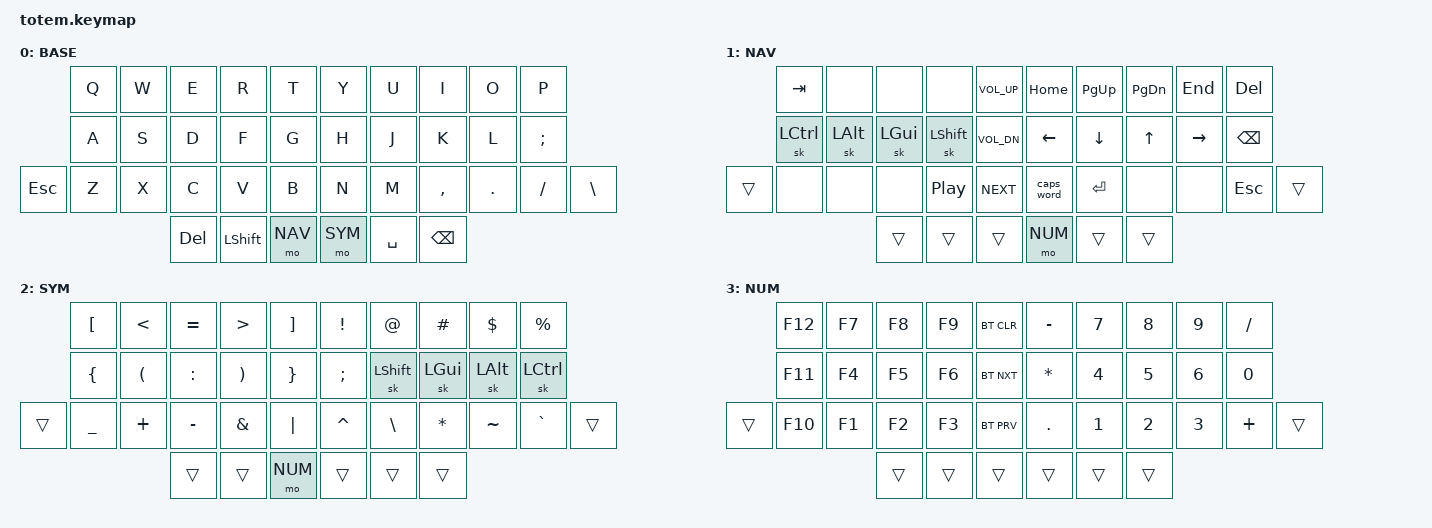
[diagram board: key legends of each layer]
//
//                                                        ▀▀▀▀▀     ▀▀▀▀▀          ▀▀█▀▀
//                                                        ▄▀▀▀▄  ▄  ▄▀▀▀▄  ▄  ▄▀▀▀▄  █  ▄▀▀▀▄
//                                                        █   █  █  █   █  █  █   █  █  █   █
//                                                         ▀▀▀   █   ▀▀▀   █   ▀▀▀   ▀   ▀▀▀
//                                                               █      ▄▄▄█▄▄▄    █   █  
//                                                               ▀      █  █  █     █▄█
//                                                             ▀▀▀▀▀    █  █  █      ▀
//                                                                      ▀  ▀  ▀
//
// ▄▄▄▄▄▄▄▄▄▄▄▄▄▄▄▄▄▄▄▄▄▄▄▄▄▄▄▄▄▄▄▄▄▄▄▄▄▄▄▄▄▄▄▄▄▄▄▄▄▄▄▄▄▄▄▄▄▄▄▄▄▄▄▄▄▄▄▄▄▄▄▄▄▄▄▄▄▄▄▄▄▄▄▄▄▄▄▄▄▄▄▄▄▄▄▄▄▄▄▄▄▄▄▄▄▄▄▄▄▄▄▄▄▄▄▄▄▄▄▄▄▄▄▄▄▄▄▄▄▄▄▄▄▄▄▄▄▄▄▄▄▄▄▄▄▄▄▄▄
       

#include <behaviors.dtsi>
#include <dt-bindings/zmk/keys.h>
#include <dt-bindings/zmk/bt.h>
#include <dt-bindings/zmk/outputs.h>

#define BASE 0
#define NAV  1
#define SYM  2
#define NUM  3

&sk {
  release-after-ms = <5000>;
  ignore-modifiers;
};

/ {
        keymap {
                compatible = "zmk,keymap";
// ▄▄▄▄▄▄▄▄▄▄▄▄▄▄▄▄▄▄▄▄▄▄▄▄▄▄▄▄▄▄▄▄▄▄▄▄▄▄▄▄▄▄▄▄▄▄▄▄▄▄▄▄▄▄▄▄▄▄▄▄▄▄▄▄▄▄▄▄▄▄▄▄▄▄▄▄▄▄▄▄▄▄▄▄▄▄▄▄▄▄▄▄▄▄▄▄▄▄▄▄▄▄▄▄▄▄▄▄▄▄▄▄▄▄▄▄▄▄▄▄▄▄▄▄▄▄▄▄▄▄▄▄▄▄▄▄▄▄▄▄▄▄▄▄▄▄▄▄▄

                base_layer {
// ┏━━━━━━━━━━━━━━━━━━━━━━━━━━━━━━━━━━━━━━━┓
label= "BASE"                              ;
// ┗━━━━━━━━━━━━━━━━━━━━━━━━━━━━━━━━━━━━━━━┛
//             ┏━━━━━━━━━━━┳━━━━━━━━━━━┳━━━━━━━━━━━┳━━━━━━━━━━━┳━━━━━━━━━━━┓   ┏━━━━━━━━━━━┳━━━━━━━━━━━┳━━━━━━━━━━━┳━━━━━━━━━━━┳━━━━━━━━━━━┓
//             ┃     Q     ┃     W     ┃     E     ┃     R     ┃     T     ┃   ┃     Y     ┃     U     ┃     I     ┃     O     ┃     P     ┃
//             ┣━━━━━━━━━━━╋━━━━━━━━━━━╋━━━━━━━━━━━╋━━━━━━━━━━━╋━━━━━━━━━━━┫   ┣━━━━━━━━━━━╋━━━━━━━━━━━╋━━━━━━━━━━━╋━━━━━━━━━━━╋━━━━━━━━━━━┫
//             ┃     A     ┃     S     ┃     D     ┃     F     ┃     G     ┃   ┃     H     ┃     J     ┃     K     ┃     L     ┃     ;     ┃
// ┏━━━━━━━━━━━╋━━━━━━━━━━━╋━━━━━━━━━━━╋━━━━━━━━━━━╋━━━━━━━━━━━╋━━━━━━━━━━━┫   ┣━━━━━━━━━━━╋━━━━━━━━━━━╋━━━━━━━━━━━╋━━━━━━━━━━━╋━━━━━━━━━━━╋━━━━━━━━━━━┓
// ┃    ESC    ┃     Z     ┃     X     ┃     C     ┃     V     ┃     B     ┃   ┃     N     ┃     M     ┃     ,     ┃     .     ┃     /     ┃     \     ┃
// ┗━━━━━━━━━━━┻━━━━━━━━━━━┻━━━━━━━━━━━╋━━━━━━━━━━━╋━━━━━━━━━━━╋━━━━━━━━━━━┫   ┣━━━━━━━━━━━╋━━━━━━━━━━━╋━━━━━━━━━━━╋━━━━━━━━━━━┻━━━━━━━━━━━┻━━━━━━━━━━━┛
//                                     ┃    DEL    ┃   SHIFT   ┃    NAV    ┃   ┃    SYM    ┃   SPACE   ┃   BSPC    ┃
//                                     ┗━━━━━━━━━━━┻━━━━━━━━━━━┻━━━━━━━━━━━┛   ┗━━━━━━━━━━━┻━━━━━━━━━━━┻━━━━━━━━━━━┛
 bindings = <
// ╷           ╷           ╷           ╷           ╷           ╷           ╷   ╷           ╷           ╷           ╷           ╷           ╷           ╷

                &kp Q       &kp W       &kp E       &kp R       &kp T           &kp Y       &kp U       &kp I       &kp O       &kp P
                &kp A       &kp S       &kp D       &kp F       &kp G           &kp H       &kp J       &kp K       &kp L       &kp SEMI  
    &kp ESC     &kp Z       &kp X       &kp C       &kp V       &kp B           &kp N       &kp M       &kp COMMA   &kp DOT     &kp FSLH    &kp BSLH
                                        &kp DEL     &kp LSHIFT  &mo NAV         &mo SYM     &kp SPACE   &kp BSPC
                        >;
                };

// ▄▄▄▄▄▄▄▄▄▄▄▄▄▄▄▄▄▄▄▄▄▄▄▄▄▄▄▄▄▄▄▄▄▄▄▄▄▄▄▄▄▄▄▄▄▄▄▄▄▄▄▄▄▄▄▄▄▄▄▄▄▄▄▄▄▄▄▄▄▄▄▄▄▄▄▄▄▄▄▄▄▄▄▄▄▄▄▄▄▄▄▄▄▄▄▄▄▄▄▄▄▄▄▄▄▄▄▄▄▄▄▄▄▄▄▄▄▄▄▄▄▄▄▄▄▄▄▄▄▄▄▄▄▄▄▄▄▄▄▄▄▄▄▄▄▄▄▄▄


                nav_layer {
// ┏━━━━━━━━━━━━━━━━━━━━━━━━━━━━━━━━━━━━━━━┓
label= "NAV"                               ;
// ┗━━━━━━━━━━━━━━━━━━━━━━━━━━━━━━━━━━━━━━━┛
//             ┏━━━━━━━━━━━┳━━━━━━━━━━━┳━━━━━━━━━━━┳━━━━━━━━━━━┳━━━━━━━━━━━┓   ┏━━━━━━━━━━━┳━━━━━━━━━━━┳━━━━━━━━━━━┳━━━━━━━━━━━┳━━━━━━━━━━━┓
//             ┃    TAB    ┃ WIN SWAP  ┃           ┃ TMUX SWAP ┃   VOL+    ┃   ┃   HOME    ┃  PAGE UP  ┃  PAGE DN  ┃    END    ┃    DEL    ┃
//             ┣━━━━━━━━━━━╋━━━━━━━━━━━╋━━━━━━━━━━━╋━━━━━━━━━━━╋━━━━━━━━━━━┫   ┣━━━━━━━━━━━╋━━━━━━━━━━━╋━━━━━━━━━━━╋━━━━━━━━━━━╋━━━━━━━━━━━┫
//             ┃   CTRL    ┃    ALT    ┃    CMD    ┃   SHIFT   ┃   VOL-    ┃   ┃   LEFT    ┃   DOWN    ┃    UP     ┃   RIGHT   ┃ BACKSPACE ┃
// ┏━━━━━━━━━━━╋━━━━━━━━━━━╋━━━━━━━━━━━╋━━━━━━━━━━━╋━━━━━━━━━━━╋━━━━━━━━━━━┫   ┣━━━━━━━━━━━╋━━━━━━━━━━━╋━━━━━━━━━━━╋━━━━━━━━━━━╋━━━━━━━━━━━╋━━━━━━━━━━━┓
// ┃           ┃           ┃           ┃           ┃ PLAY/PAUS ┃   NEXT    ┃   ┃ CAPS WORD ┃   ENTER   ┃           ┃           ┃    ESC    ┃           ┃
// ┗━━━━━━━━━━━┻━━━━━━━━━━━┻━━━━━━━━━━━╋━━━━━━━━━━━╋━━━━━━━━━━━╋━━━━━━━━━━━┫   ┣━━━━━━━━━━━╋━━━━━━━━━━━╋━━━━━━━━━━━╋━━━━━━━━━━━┻━━━━━━━━━━━┻━━━━━━━━━━━┛
//                                     ┃           ┃           ┃           ┃   ┃    DEL    ┃           ┃           ┃
//                                     ┗━━━━━━━━━━━┻━━━━━━━━━━━┻━━━━━━━━━━━┛   ┗━━━━━━━━━━━┻━━━━━━━━━━━┻━━━━━━━━━━━┛
 bindings = <
// ╷           ╷           ╷           ╷           ╷           ╷           ╷   ╷           ╷           ╷           ╷           ╷           ╷           ╷

                &kp TAB     &none       &none       &none       &kp C_VOL_UP    &kp HOME    &kp PG_UP   &kp PG_DN   &kp END     &kp DEL
                &sk LCTRL   &sk LALT    &sk LGUI    &sk LSHIFT  &kp C_VOL_DN    &kp LEFT    &kp DOWN    &kp UP      &kp RIGHT   &kp BSPC    
    &trans      &none       &none       &none       &kp C_PP    &kp C_NEXT      &caps_word  &kp ENTER   &none       &none       &kp ESC     &trans      
                                        &trans      &trans      &trans          &mo NUM     &trans      &trans      
                        >;
                };

// ▄▄▄▄▄▄▄▄▄▄▄▄▄▄▄▄▄▄▄▄▄▄▄▄▄▄▄▄▄▄▄▄▄▄▄▄▄▄▄▄▄▄▄▄▄▄▄▄▄▄▄▄▄▄▄▄▄▄▄▄▄▄▄▄▄▄▄▄▄▄▄▄▄▄▄▄▄▄▄▄▄▄▄▄▄▄▄▄▄▄▄▄▄▄▄▄▄▄▄▄▄▄▄▄▄▄▄▄▄▄▄▄▄▄▄▄▄▄▄▄▄▄▄▄▄▄▄▄▄▄▄▄▄▄▄▄▄▄▄▄▄▄▄▄▄▄▄▄▄


                sym_layer {
// ┏━━━━━━━━━━━━━━━━━━━━━━━━━━━━━━━━━━━━━━━┓
label= "SYM"                               ;
// ┗━━━━━━━━━━━━━━━━━━━━━━━━━━━━━━━━━━━━━━━┛
//             ┏━━━━━━━━━━━┳━━━━━━━━━━━┳━━━━━━━━━━━┳━━━━━━━━━━━┳━━━━━━━━━━━┓   ┏━━━━━━━━━━━┳━━━━━━━━━━━┳━━━━━━━━━━━┳━━━━━━━━━━━┳━━━━━━━━━━━┓
//             ┃     [     ┃     <     ┃     =     ┃     >     ┃     ]     ┃   ┃     !     ┃     @     ┃     #     ┃     $     ┃     %     ┃
//             ┣━━━━━━━━━━━╋━━━━━━━━━━━╋━━━━━━━━━━━╋━━━━━━━━━━━╋━━━━━━━━━━━┫   ┣━━━━━━━━━━━╋━━━━━━━━━━━╋━━━━━━━━━━━╋━━━━━━━━━━━╋━━━━━━━━━━━┫
//             ┃     {     ┃     (     ┃     :     ┃     )     ┃     }     ┃   ┃     ;     ┃   SHIFT   ┃    GUI    ┃    ALT    ┃   CTRL    ┃
// ┏━━━━━━━━━━━╋━━━━━━━━━━━╋━━━━━━━━━━━╋━━━━━━━━━━━╋━━━━━━━━━━━╋━━━━━━━━━━━┫   ┣━━━━━━━━━━━╋━━━━━━━━━━━╋━━━━━━━━━━━╋━━━━━━━━━━━╋━━━━━━━━━━━╋━━━━━━━━━━━┓
// ┃           ┃     _     ┃     +     ┃     -     ┃     &     ┃     |     ┃   ┃     ^     ┃     \     ┃     *     ┃     ~     ┃     `     ┃           ┃
// ┗━━━━━━━━━━━┻━━━━━━━━━━━┻━━━━━━━━━━━╋━━━━━━━━━━━╋━━━━━━━━━━━╋━━━━━━━━━━━┫   ┣━━━━━━━━━━━╋━━━━━━━━━━━╋━━━━━━━━━━━╋━━━━━━━━━━━┻━━━━━━━━━━━┻━━━━━━━━━━━┛
//                                     ┃           ┃           ┃    NUM    ┃   ┃           ┃           ┃           ┃
//                                     ┗━━━━━━━━━━━┻━━━━━━━━━━━┻━━━━━━━━━━━┛   ┗━━━━━━━━━━━┻━━━━━━━━━━━┻━━━━━━━━━━━┛
 bindings = <
// ╷           ╷           ╷           ╷           ╷           ╷           ╷   ╷           ╷           ╷           ╷           ╷           ╷           ╷

                &kp LBKT    &kp LT      &kp EQUAL   &kp GT      &kp RBKT        &kp EXCL    &kp AT      &kp HASH    &kp DLLR    &kp PRCNT     
                &kp LBRC    &kp LPAR    &kp COLON   &kp RPAR    &kp RBRC        &kp SEMI    &sk LSHIFT  &sk LGUI    &sk LALT    &sk LCTRL 
    &trans      &kp UNDER   &kp PLUS    &kp MINUS   &kp AMPS    &kp PIPE        &kp CARET   &kp BSLH    &kp STAR    &kp TILDE   &kp GRAVE  &trans         
                                        &trans      &trans      &mo NUM         &trans      &trans      &trans      
                        >;
                };

// ▄▄▄▄▄▄▄▄▄▄▄▄▄▄▄▄▄▄▄▄▄▄▄▄▄▄▄▄▄▄▄▄▄▄▄▄▄▄▄▄▄▄▄▄▄▄▄▄▄▄▄▄▄▄▄▄▄▄▄▄▄▄▄▄▄▄▄▄▄▄▄▄▄▄▄▄▄▄▄▄▄▄▄▄▄▄▄▄▄▄▄▄▄▄▄▄▄▄▄▄▄▄▄▄▄▄▄▄▄▄▄▄▄▄▄▄▄▄▄▄▄▄▄▄▄▄▄▄▄▄▄▄▄▄▄▄▄▄▄▄▄▄▄▄▄▄▄▄▄


                number_layer {
// ┏━━━━━━━━━━━━━━━━━━━━━━━━━━━━━━━━━━━━━━━┓
label= "NUM"                               ;
// ┗━━━━━━━━━━━━━━━━━━━━━━━━━━━━━━━━━━━━━━━┛
//             ┏━━━━━━━━━━━┳━━━━━━━━━━━┳━━━━━━━━━━━┳━━━━━━━━━━━┳━━━━━━━━━━━┓   ┏━━━━━━━━━━━┳━━━━━━━━━━━┳━━━━━━━━━━━┳━━━━━━━━━━━┳━━━━━━━━━━━┓
//             ┃    F12    ┃    F7     ┃    F8     ┃    F9     ┃ BT CLEAR  ┃   ┃     -     ┃     7     ┃     8     ┃     9     ┃     /     ┃
//             ┣━━━━━━━━━━━╋━━━━━━━━━━━╋━━━━━━━━━━━╋━━━━━━━━━━━╋━━━━━━━━━━━┫   ┣━━━━━━━━━━━╋━━━━━━━━━━━╋━━━━━━━━━━━╋━━━━━━━━━━━╋━━━━━━━━━━━┫
//             ┃    F11    ┃    F4     ┃    F5     ┃    F6     ┃ BT NEXT   ┃   ┃     *     ┃     4     ┃     5     ┃     6     ┃     0     ┃
// ┏━━━━━━━━━━━╋━━━━━━━━━━━╋━━━━━━━━━━━╋━━━━━━━━━━━╋━━━━━━━━━━━╋━━━━━━━━━━━┫   ┣━━━━━━━━━━━╋━━━━━━━━━━━╋━━━━━━━━━━━╋━━━━━━━━━━━╋━━━━━━━━━━━╋━━━━━━━━━━━┓
// ┃           ┃    F10    ┃    F1     ┃    F2     ┃    F3     ┃ BT PREV   ┃   ┃     .     ┃     1     ┃     2     ┃     3     ┃     +     ┃           ┃
// ┗━━━━━━━━━━━┻━━━━━━━━━━━┻━━━━━━━━━━━╋━━━━━━━━━━━╋━━━━━━━━━━━╋━━━━━━━━━━━┫   ┣━━━━━━━━━━━╋━━━━━━━━━━━╋━━━━━━━━━━━╋━━━━━━━━━━━┻━━━━━━━━━━━┻━━━━━━━━━━━┛
//                                     ┃           ┃           ┃           ┃   ┃           ┃           ┃           ┃
//                                     ┗━━━━━━━━━━━┻━━━━━━━━━━━┻━━━━━━━━━━━┛   ┗━━━━━━━━━━━┻━━━━━━━━━━━┻━━━━━━━━━━━┛
 bindings = <
// ╷           ╷           ╷           ╷           ╷           ╷           ╷   ╷           ╷           ╷           ╷           ╷           ╷           ╷

                &kp F12     &kp F7     &kp F8       &kp F9      &bt BT_CLR      &kp MINUS   &kp N7      &kp N8      &kp N9      &kp FSLH
                &kp F11     &kp F4     &kp F5       &kp F6      &bt BT_NXT      &kp STAR    &kp N4      &kp N5      &kp N6      &kp N0   
    &trans      &kp F10     &kp F1     &kp F2       &kp F3      &bt BT_PRV      &kp DOT     &kp N1      &kp N2      &kp N3      &kp PLUS    &trans         
                                       &trans       &trans      &trans          &trans      &trans      &trans      
                        >;
                };

// ▄▄▄▄▄▄▄▄▄▄▄▄▄▄▄▄▄▄▄▄▄▄▄▄▄▄▄▄▄▄▄▄▄▄▄▄▄▄▄▄▄▄▄▄▄▄▄▄▄▄▄▄▄▄▄▄▄▄▄▄▄▄▄▄▄▄▄▄▄▄▄▄▄▄▄▄▄▄▄▄▄▄▄▄▄▄▄▄▄▄▄▄▄▄▄▄▄▄▄▄▄▄▄▄▄▄▄▄▄▄▄▄▄▄▄▄▄▄▄▄▄▄▄▄▄▄▄▄▄▄▄▄▄▄▄▄▄▄▄▄▄▄▄▄▄▄▄▄▄

        };
};
